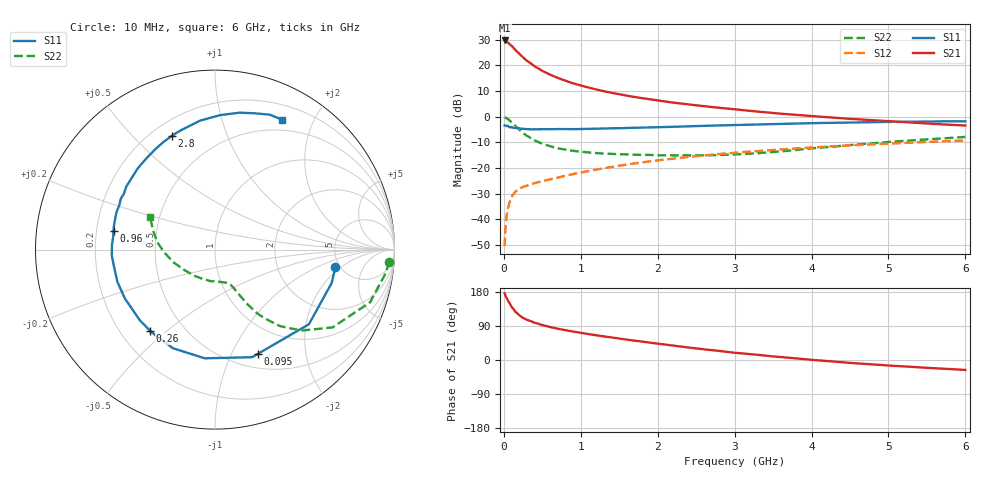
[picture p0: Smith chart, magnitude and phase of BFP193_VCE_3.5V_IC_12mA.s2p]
! Infineon Technologies  Discrete & RF Semiconductors
! BFP193
! VCE = 3.5 V,  IC =  12 mA
! Common Emitter S-Parameters:  Jan 2016
# GHz  S  MA  R  50
!  f  S11  S21  S12  S22
! GHz  MAG  ANG  MAG  ANG  MAG  ANG  MAG  ANG
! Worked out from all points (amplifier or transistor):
!   210 points, 10 MHz to 6 GHz, reference 50 ohm
!   highest |S21| = 29.7 dB at 10 MHz (marker M1)
!   |S21| within 3 dB of that: start of sweep to 128.8 MHz
!   unconditionally stable (mu >= 1): 927.5 MHz to 3.635 GHz
!   at 185 MHz: K = 0.36, MSG = 26.7 dB, |S12| = -28.4 dB
!   at 1.52 GHz: K = 1.08, MAG = 12.1 dB, |S12| = -19.0 dB
!   at 6 GHz: K = 0.92, MSG = 2.9 dB, |S12| = -9.3 dB
!   S11 on the Smith chart (normalised r, x): 10 MHz: 4.58, -1.66; 95 MHz: 0.66, -1.27; 260 MHz: 0.32, -0.44; 960 MHz: 0.27, +0.09; 2.8 GHz: 0.28, +0.65; 6 GHz: 0.37, +1.58
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0.01  0.6778 -8.3  30.66 176.0  0.003 88.6  0.9724 -4.0
0.02  0.6761 -16.0  29.81 170.3  0.0065 81.0  0.9603 -7.8
0.05  0.6684 -38.5  28.19 157.9  0.0159 73.2  0.9124 -18.8
0.095  0.6281 -67.7  24.57 142.5  0.0261 61.5  0.7955 -31.8
0.1  0.6341 -71.0  24.29 140.5  0.0273 60.7  0.7854 -33.5
0.15  0.6083 -95.4  20.05 127.2  0.0346 52.7  0.6586 -43.2
0.2  0.5973 -113.1  16.91 118.1  0.0395 48.4  0.56 -49.6
0.24  0.5821 -123.9  14.78 112.5  0.0422 45.9  0.4957 -52.8
0.26  0.579 -128.6  13.88 110.0  0.0434 45.3  0.4687 -54.2
0.3  0.5751 -136.5  12.33 105.9  0.0453 45.2  0.4245 -56.6
0.4  0.5712 -151.5  9.623 98.3  0.0509 44.7  0.3459 -59.6
0.5  0.5727 -161.6  7.808 92.1  0.0555 45.2  0.2972 -61.3
0.7  0.5758 -176.7  5.721 82.4  0.0649 48.1  0.2429 -63.8
0.96  0.5749 169.5  4.217 73.0  0.0794 50.1  0.2114 -66.7
1.02  0.5785 166.6  3.978 71.0  0.0828 50.4  0.2068 -67.7
1.4  0.5965 151.7  2.919 59.5  0.1045 51.0  0.1888 -75.1
2.02  0.6272 131.7  2.054 42.7  0.1422 47.9  0.1771 -92.1
2.8  0.6779 110.7  1.496 23.9  0.1874 41.5  0.1793 -120.1
3.1  0.6951 104.4  1.343 17.4  0.2041 38.5  0.1874 -131.7
4.1  0.7536 86.2  1.004 -1.1  0.2569 28.4  0.2482 -165.8
5.1  0.7946 72.5  0.801 -15.7  0.3041 17.9  0.3306 170.6
6  0.8144 62.6  0.674 -26.2  0.3444 8.2  0.4036 153.4
